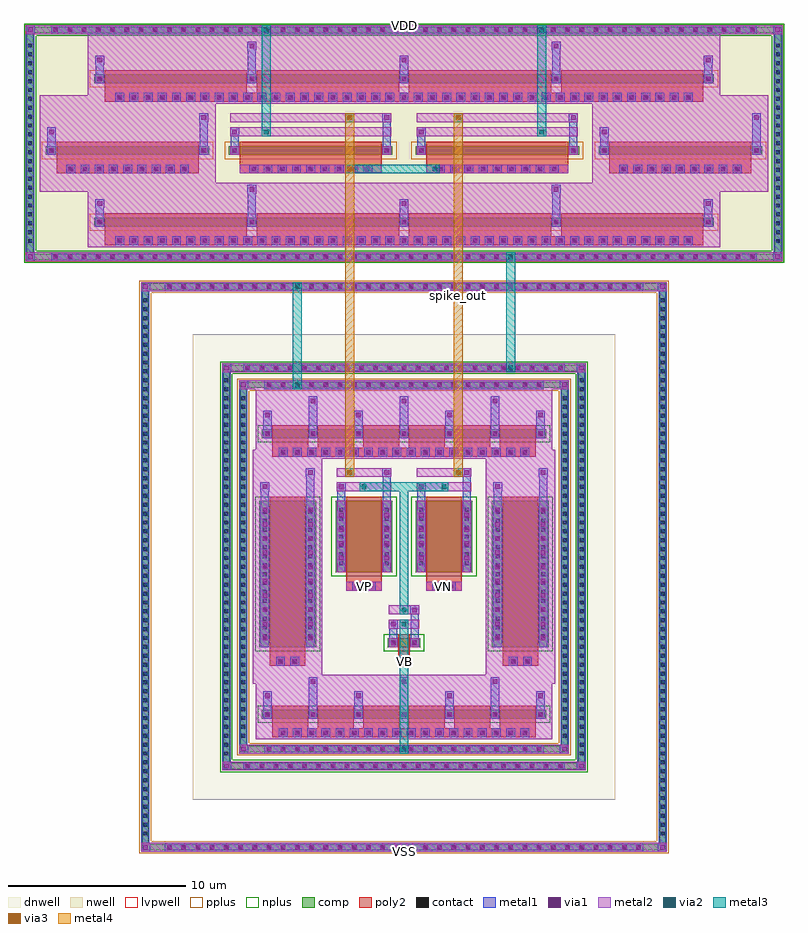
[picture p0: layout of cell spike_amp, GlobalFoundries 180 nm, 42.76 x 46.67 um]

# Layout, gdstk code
import gdstk
lib = gdstk.Library(unit=1e-6, precision=5e-09)
def R(c, l, rs):  # rectangles x0, y0, x1, y1
    for r in rs: c.add(gdstk.rectangle(r[:2], r[2:], *l))
def A(c, l, x, y, w, h, nx, ny, dx, dy):  # array of equal rectangles
    R(c, l, [(x+i*dx, y+j*dy, x+i*dx+w, y+j*dy+h) for i in range(nx) for j in range(ny)])
def P(c, l, *ps):  # polygons
    for p in ps: c.add(gdstk.Polygon(p, *l))
dnwell = (12, 0)
nwell = (21, 0)
comp = (22, 0)
poly2 = (30, 0)
pplus = (31, 0)
nplus = (32, 0)
contact = (33, 0)
metal1 = (34, 0)
via1 = (35, 0)
metal2 = (36, 0)
via2 = (38, 0)
via3 = (40, 0)
metal3 = (42, 0)
metal4 = (46, 0)
lvpwell = (204, 0)

spike_amp = lib.new_cell('spike_amp')
R(spike_amp, dnwell, [(-9.63,-15.205,14.13,10.975)])
R(spike_amp, nwell, [(-19.09,15.035,23.59,28.405), (-15.54,15.875,20.04,19.505), (-18.25,19.905,-8.35,23.535), (-7.95,19.905,1.95,23.535), (2.55,19.905,12.45,23.535), (12.85,19.905,22.75,23.535), (-15.54,23.935,20.04,27.565)])
A(spike_amp, comp, -11.13, -18.065, 0.36, 0.36, 34, 2, 0.8, 31.54)
A(spike_amp, comp, -12.49, -17.295, 0.36, 0.36, 1, 61, 0, 0.5)
A(spike_amp, comp, 16.63, -17.295, 0.36, 0.36, 1, 61, 0, 0.5)
A(spike_amp, comp, -6.73, -13.495, 0.36, 0.36, 23, 2, 0.8, 22.4)
A(spike_amp, comp, -7.92, -12.795, 0.36, 0.36, 1, 43, 0, 0.5)
A(spike_amp, comp, 12.06, -12.795, 0.36, 0.36, 1, 43, 0, 0.5)
A(spike_amp, comp, -5.53, -12.545, 0.36, 0.36, 20, 2, 0.8, 20.5)
A(spike_amp, comp, -6.97, -11.795, 0.36, 0.36, 1, 39, 0, 0.5)
A(spike_amp, comp, 11.11, -11.795, 0.36, 0.36, 1, 39, 0, 0.5)
A(spike_amp, comp, -17.53, 15.155, 0.36, 0.36, 50, 2, 0.8, 12.77)
A(spike_amp, comp, -18.97, 16.04, 0.36, 0.36, 1, 23, 0, 0.5)
A(spike_amp, comp, 23.11, 16.04, 0.36, 0.36, 1, 23, 0, 0.5)
R(spike_amp, comp, [(-11.13,-18.065,15.63,-17.705), (-12.49,-17.295,-12.13,13.065), (16.63,-17.295,16.99,13.065), (-6.73,-13.495,11.23,-13.135), (-7.92,-12.795,-7.56,8.565), (12.06,-12.795,12.42,8.565), (-5.53,-12.545,10.03,-12.185), (-6.97,-11.795,-6.61,7.565), (11.11,-11.795,11.47,7.565), (-5.75,-10.665,10.25,-10.165), (-5.9,-6.64,-2.7,1.6), (7.2,-6.64,10.4,1.6), (1.33,-6.635,3.17,-6.135), (-1.6,-2.405,1.6,1.595), (2.9,-2.405,6.1,1.595), (-5.75,5.125,10.25,5.625), (-5.53,7.955,10.03,8.315), (-6.73,8.905,11.23,9.265), (-11.13,13.475,15.63,13.835), (-17.53,15.155,22.03,15.515), (-18.97,16.04,-18.61,27.4), (23.11,16.04,23.47,27.4), (-15.19,17.035,19.69,17.535), (-17.9,21.065,-8.7,21.565), (-7.6,21.065,1.6,21.565), (2.9,21.065,12.1,21.565), (13.2,21.065,22.4,21.565), (-15.19,25.095,19.69,25.595), (-17.53,27.925,22.03,28.285)])
P(spike_amp, comp, [(23.47,28.285),(-18.97,28.285),(-18.97,15.515),(-18.61,15.515),(-18.61,27.925),(23.11,27.925),(23.11,15.515),(-18.61,15.515),(-18.97,15.515),(-18.97,15.155),(23.47,15.155)],
  [(11.47,8.315),(-6.97,8.315),(-6.97,-12.185),(-6.61,-12.185),(-6.61,7.955),(11.11,7.955),(11.11,-12.185),(-6.61,-12.185),(-6.97,-12.185),(-6.97,-12.545),(11.47,-12.545)],
  [(12.42,9.265),(-7.92,9.265),(-7.92,-13.135),(-7.56,-13.135),(-7.56,8.905),(12.06,8.905),(12.06,-13.135),(-7.56,-13.135),(-7.92,-13.135),(-7.92,-13.495),(12.42,-13.495)],
  [(16.99,13.835),(-12.49,13.835),(-12.49,-17.705),(-12.13,-17.705),(-12.13,13.475),(16.63,13.475),(16.63,-17.705),(-12.13,-17.705),(-12.49,-17.705),(-12.49,-18.065),(16.99,-18.065)])
A(spike_amp, poly2, -4.73, -11.635, 0.36, 0.36, 18, 2, 0.8, 15.79)
A(spike_amp, poly2, -5.15, -11.205, 2, 0.3, 6, 2, 2.56, 15.79)
A(spike_amp, poly2, -5.15, -10.905, 2, 0.98, 6, 2, 2.56, 15.79)
A(spike_amp, poly2, -13.93, 16.065, 0.36, 0.36, 41, 2, 0.8, 8.06)
A(spike_amp, poly2, -14.59, 16.495, 8, 0.3, 4, 2, 8.56, 8.06)
A(spike_amp, poly2, -14.59, 16.795, 8, 0.98, 4, 2, 8.56, 8.06)
A(spike_amp, poly2, -16.68, 20.095, 0.36, 0.36, 9, 1, 0.8, 0)
A(spike_amp, poly2, -6.38, 20.095, 0.36, 0.36, 9, 1, 0.8, 0)
A(spike_amp, poly2, 4.12, 20.095, 0.36, 0.36, 9, 1, 0.8, 0)
A(spike_amp, poly2, 14.42, 20.095, 0.36, 0.36, 9, 1, 0.8, 0)
R(spike_amp, poly2, [(-5.15,-11.705,9.65,-11.205), (-5.3,-7.68,-3.3,-7.18), (7.8,-7.68,9.8,-7.18), (1.93,-7.675,2.57,-7.175), (-4.88,-7.61,-4.52,-7.25), (-4.08,-7.61,-3.72,-7.25), (8.22,-7.61,8.58,-7.25), (9.02,-7.61,9.38,-7.25), (2.07,-7.605,2.43,-7.245), (-5.3,-7.18,-3.3,-6.88), (7.8,-7.18,9.8,-6.88), (1.93,-7.175,2.57,-6.875), (-5.3,-6.88,-3.3,1.84), (7.8,-6.88,9.8,1.84), (1.93,-6.875,2.57,-5.895), (-1,-3.445,1,-2.945), (3.5,-3.445,5.5,-2.945), (-0.58,-3.375,-0.22,-3.015), (0.22,-3.375,0.58,-3.015), (3.92,-3.375,4.28,-3.015), (4.72,-3.375,5.08,-3.015), (-1,-2.945,1,-2.645), (3.5,-2.945,5.5,-2.645), (-1,-2.645,1,1.835), (3.5,-2.645,5.5,1.835), (-5.15,4.085,9.65,4.585), (-14.59,15.995,19.09,16.495), (-17.3,20.025,-9.3,20.525), (-7,20.025,1,20.525), (3.5,20.025,11.5,20.525), (13.8,20.025,21.8,20.525), (-17.3,20.525,-9.3,20.825), (-7,20.525,1,20.825), (3.5,20.525,11.5,20.825), (13.8,20.525,21.8,20.825), (-17.3,20.825,-9.3,21.805), (-7,20.825,1,21.805), (3.5,20.825,11.5,21.805), (13.8,20.825,21.8,21.805), (-14.59,24.055,19.09,24.555)])
R(spike_amp, pplus, [(-15.42,16.805,19.92,17.765), (-18.13,20.835,-8.47,21.795), (-7.83,20.835,1.83,21.795), (2.67,20.835,12.33,21.795), (12.97,20.835,22.63,21.795), (-15.42,24.865,19.92,25.825)])
P(spike_amp, pplus, [(11.63,8.475),(-7.13,8.475),(-7.13,-12.025),(-6.45,-12.025),(-6.45,7.795),(10.95,7.795),(10.95,-12.025),(-6.45,-12.025),(-7.13,-12.025),(-7.13,-12.705),(11.63,-12.705)],
  [(17.15,13.995),(-12.65,13.995),(-12.65,-17.545),(-11.97,-17.545),(-11.97,13.315),(16.47,13.315),(16.47,-17.545),(-11.97,-17.545),(-12.65,-17.545),(-12.65,-18.225),(17.15,-18.225)])
R(spike_amp, nplus, [(-5.98,-10.895,10.48,-9.935), (-6.13,-6.87,-2.47,1.83), (6.97,-6.87,10.63,1.83), (1.1,-6.865,3.4,-5.905), (-1.83,-2.635,1.83,1.825), (2.67,-2.635,6.33,1.825), (-5.98,4.895,10.48,5.855)])
P(spike_amp, nplus, [(23.63,28.445),(-19.13,28.445),(-19.13,15.675),(-18.45,15.675),(-18.45,27.765),(22.95,27.765),(22.95,15.675),(-18.45,15.675),(-19.13,15.675),(-19.13,14.995),(23.63,14.995)],
  [(12.58,9.425),(-8.08,9.425),(-8.08,-12.975),(-7.4,-12.975),(-7.4,8.745),(11.9,8.745),(11.9,-12.975),(-7.4,-12.975),(-8.08,-12.975),(-8.08,-13.655),(12.58,-13.655)])
A(spike_amp, contact, -11.06, -17.995, 0.22, 0.22, 34, 2, 0.8, 31.54)
A(spike_amp, contact, -12.42, -17.225, 0.22, 0.22, 1, 61, 0, 0.5)
A(spike_amp, contact, 16.7, -17.225, 0.22, 0.22, 1, 61, 0, 0.5)
A(spike_amp, contact, -6.66, -13.425, 0.22, 0.22, 23, 2, 0.8, 22.4)
A(spike_amp, contact, -7.85, -12.725, 0.22, 0.22, 1, 43, 0, 0.5)
A(spike_amp, contact, 12.13, -12.725, 0.22, 0.22, 1, 43, 0, 0.5)
A(spike_amp, contact, -5.46, -12.475, 0.22, 0.22, 20, 2, 0.8, 20.5)
A(spike_amp, contact, -6.9, -11.725, 0.22, 0.22, 1, 39, 0, 0.5)
A(spike_amp, contact, 11.18, -11.725, 0.22, 0.22, 1, 39, 0, 0.5)
A(spike_amp, contact, -4.66, -11.565, 0.22, 0.22, 18, 2, 0.8, 15.79)
A(spike_amp, contact, -5.54, -10.525, 0.22, 0.22, 7, 2, 2.56, 15.79)
A(spike_amp, contact, -5.69, -6.13, 0.22, 0.22, 1, 15, 0, 0.5)
A(spike_amp, contact, -3.13, -6.13, 0.22, 0.22, 1, 15, 0, 0.5)
A(spike_amp, contact, 7.41, -6.13, 0.22, 0.22, 1, 15, 0, 0.5)
A(spike_amp, contact, 9.97, -6.13, 0.22, 0.22, 1, 15, 0, 0.5)
A(spike_amp, contact, -1.39, -2.015, 0.22, 0.22, 1, 7, 0, 0.5)
A(spike_amp, contact, 1.17, -2.015, 0.22, 0.22, 1, 7, 0, 0.5)
A(spike_amp, contact, 3.11, -2.015, 0.22, 0.22, 1, 7, 0, 0.5)
A(spike_amp, contact, 5.67, -2.015, 0.22, 0.22, 1, 7, 0, 0.5)
A(spike_amp, contact, -17.46, 15.225, 0.22, 0.22, 50, 2, 0.8, 12.77)
A(spike_amp, contact, -18.9, 16.11, 0.22, 0.22, 1, 23, 0, 0.5)
A(spike_amp, contact, 23.18, 16.11, 0.22, 0.22, 1, 23, 0, 0.5)
A(spike_amp, contact, -13.86, 16.135, 0.22, 0.22, 41, 2, 0.8, 8.06)
A(spike_amp, contact, -14.98, 17.175, 0.22, 0.22, 5, 2, 8.56, 8.06)
A(spike_amp, contact, -16.61, 20.165, 0.22, 0.22, 9, 1, 0.8, 0)
A(spike_amp, contact, -6.31, 20.165, 0.22, 0.22, 9, 1, 0.8, 0)
A(spike_amp, contact, 4.19, 20.165, 0.22, 0.22, 9, 1, 0.8, 0)
A(spike_amp, contact, 14.49, 20.165, 0.22, 0.22, 9, 1, 0.8, 0)
R(spike_amp, contact, [(-4.81,-7.54,-4.59,-7.32), (-4.01,-7.54,-3.79,-7.32), (8.29,-7.54,8.51,-7.32), (9.09,-7.54,9.31,-7.32), (2.14,-7.535,2.36,-7.315), (1.54,-6.495,1.76,-6.275), (2.74,-6.495,2.96,-6.275), (-0.51,-3.305,-0.29,-3.085), (0.29,-3.305,0.51,-3.085), (3.99,-3.305,4.21,-3.085), (4.79,-3.305,5.01,-3.085), (-17.69,21.205,-17.47,21.425), (-9.13,21.205,-8.91,21.425), (-7.39,21.205,-7.17,21.425), (1.17,21.205,1.39,21.425), (3.11,21.205,3.33,21.425), (11.67,21.205,11.89,21.425), (13.41,21.205,13.63,21.425), (21.97,21.205,22.19,21.425)])
A(spike_amp, metal1, -11.2, -18.135, 0.5, 0.5, 34, 2, 0.8, 31.54)
A(spike_amp, metal1, -12.54, -17.345, 0.46, 0.46, 1, 61, 0, 0.5)
A(spike_amp, metal1, 16.58, -17.345, 0.46, 0.46, 1, 61, 0, 0.5)
A(spike_amp, metal1, -6.8, -13.565, 0.5, 0.5, 23, 2, 0.8, 22.4)
A(spike_amp, metal1, -7.97, -12.845, 0.46, 0.46, 1, 43, 0, 0.5)
A(spike_amp, metal1, 12.01, -12.845, 0.46, 0.46, 1, 43, 0, 0.5)
A(spike_amp, metal1, -5.6, -12.615, 0.5, 0.5, 20, 2, 0.8, 20.5)
A(spike_amp, metal1, -7.02, -11.845, 0.46, 0.46, 1, 39, 0, 0.5)
A(spike_amp, metal1, 11.06, -11.845, 0.46, 0.46, 1, 39, 0, 0.5)
A(spike_amp, metal1, -4.8, -11.705, 0.5, 0.5, 18, 2, 0.8, 15.79)
A(spike_amp, metal1, -5.66, -10.665, 0.46, 0.5, 7, 2, 2.56, 15.79)
A(spike_amp, metal1, -5.66, -10.645, 0.46, 0.46, 7, 2, 2.56, 15.79)
A(spike_amp, metal1, -5.66, -10.165, 0.46, 1.05, 4, 2, 5.12, 15.79)
A(spike_amp, metal1, -3.1, -10.165, 0.46, 1.85, 3, 2, 5.12, 15.79)
A(spike_amp, metal1, -5.68, -9.615, 0.5, 0.5, 4, 2, 5.12, 15.79)
A(spike_amp, metal1, -3.12, -8.815, 0.5, 0.5, 3, 2, 5.12, 15.79)
A(spike_amp, metal1, -5.83, -6.37, 0.5, 0.5, 1, 10, 0, 0.8)
A(spike_amp, metal1, -3.27, -6.37, 0.5, 0.5, 1, 10, 0, 0.8)
A(spike_amp, metal1, 7.27, -6.37, 0.5, 0.5, 1, 10, 0, 0.8)
A(spike_amp, metal1, 9.83, -6.37, 0.5, 0.5, 1, 10, 0, 0.8)
A(spike_amp, metal1, -5.81, -6.25, 0.46, 0.46, 1, 15, 0, 0.5)
A(spike_amp, metal1, -3.25, -6.25, 0.46, 0.46, 1, 15, 0, 0.5)
A(spike_amp, metal1, 7.29, -6.25, 0.46, 0.46, 1, 15, 0, 0.5)
A(spike_amp, metal1, 9.85, -6.25, 0.46, 0.46, 1, 15, 0, 0.5)
A(spike_amp, metal1, -1.51, -2.135, 0.46, 0.46, 1, 7, 0, 0.5)
A(spike_amp, metal1, 1.05, -2.135, 0.46, 0.46, 1, 7, 0, 0.5)
A(spike_amp, metal1, 2.99, -2.135, 0.46, 0.46, 1, 7, 0, 0.5)
A(spike_amp, metal1, 5.55, -2.135, 0.46, 0.46, 1, 7, 0, 0.5)
A(spike_amp, metal1, -1.53, -1.855, 0.5, 0.5, 1, 4, 0, 0.8)
A(spike_amp, metal1, 1.03, -1.855, 0.5, 0.5, 1, 4, 0, 0.8)
A(spike_amp, metal1, 2.97, -1.855, 0.5, 0.5, 1, 4, 0, 0.8)
A(spike_amp, metal1, 5.53, -1.855, 0.5, 0.5, 1, 4, 0, 0.8)
A(spike_amp, metal1, -17.6, 15.085, 0.5, 0.5, 50, 2, 0.8, 12.77)
A(spike_amp, metal1, -19.02, 15.99, 0.46, 0.46, 1, 23, 0, 0.5)
A(spike_amp, metal1, 23.06, 15.99, 0.46, 0.46, 1, 23, 0, 0.5)
A(spike_amp, metal1, -14, 15.995, 0.5, 0.5, 41, 2, 0.8, 8.06)
A(spike_amp, metal1, -15.1, 17.035, 0.46, 0.5, 5, 2, 8.56, 8.06)
A(spike_amp, metal1, -15.1, 17.055, 0.46, 0.46, 5, 2, 8.56, 8.06)
A(spike_amp, metal1, -15.1, 17.535, 0.46, 1.05, 3, 2, 17.12, 8.06)
A(spike_amp, metal1, -15.12, 18.085, 0.5, 0.5, 3, 2, 17.12, 8.06)
A(spike_amp, metal1, -16.75, 20.025, 0.5, 0.5, 9, 1, 0.8, 0)
A(spike_amp, metal1, -6.45, 20.025, 0.5, 0.5, 9, 1, 0.8, 0)
A(spike_amp, metal1, 4.05, 20.025, 0.5, 0.5, 9, 1, 0.8, 0)
A(spike_amp, metal1, 14.35, 20.025, 0.5, 0.5, 9, 1, 0.8, 0)
R(spike_amp, metal1, [(-12.54,-18.135,-12.04,-17.635), (-12.54,-18.135,-12.04,-17.635), (-12.54,-18.135,-12.08,-17.705), (-11.2,-18.135,15.7,-17.635), (16.54,-18.135,17.04,-17.635), (16.54,-18.135,17.04,-17.635), (16.58,-18.135,17.04,-17.705), (-12.54,-17.705,-12.08,13.475), (16.58,-17.705,17.04,13.475), (-7.97,-13.565,-7.47,-13.065), (-7.97,-13.565,-7.47,-13.065), (-7.97,-13.565,-7.51,-13.135), (-6.8,-13.565,11.3,-13.065), (11.97,-13.565,12.47,-13.065), (11.97,-13.565,12.47,-13.065), (12.01,-13.565,12.47,-13.135), (-7.97,-13.135,-7.51,8.905), (12.01,-13.135,12.47,8.905), (-7.02,-12.615,-6.52,-12.115), (-7.02,-12.615,-6.52,-12.115), (-7.02,-12.615,-6.56,-12.185), (-5.6,-12.615,10.1,-12.115), (11.02,-12.615,11.52,-12.115), (11.02,-12.615,11.52,-12.115), (11.06,-12.615,11.52,-12.185), (-7.02,-12.185,-6.56,7.955), (11.06,-12.185,11.52,7.955), (-5.68,-10.665,-5.18,-10.165), (-5.68,-10.665,-5.18,-10.165), (-3.12,-10.665,-2.62,-10.165), (-3.12,-10.665,-2.62,-10.165), (-0.56,-10.665,-0.06,-10.165), (-0.56,-10.665,-0.06,-10.165), (2,-10.665,2.5,-10.165), (2,-10.665,2.5,-10.165), (4.56,-10.665,5.06,-10.165), (4.56,-10.665,5.06,-10.165), (7.12,-10.665,7.62,-10.165), (7.12,-10.665,7.62,-10.165), (9.68,-10.665,10.18,-10.165), (9.68,-10.665,10.18,-10.165), (-4.95,-7.68,-4.45,-7.18), (-4.15,-7.68,-3.65,-7.18), (8.15,-7.68,8.65,-7.18), (8.95,-7.68,9.45,-7.18), (2,-7.675,2.5,-7.175), (-5.81,-6.64,-5.35,1.6), (-3.25,-6.64,-2.79,1.6), (7.29,-6.64,7.75,1.6), (9.85,-6.64,10.31,1.6), (1.4,-6.635,1.9,-6.135), (1.4,-6.635,1.9,-6.135), (1.42,-6.635,1.88,-6.135), (2.6,-6.635,3.1,-6.135), (2.6,-6.635,3.1,-6.135), (2.62,-6.635,3.08,-6.135), (1.42,-6.615,1.88,-6.155), (2.62,-6.615,3.08,-6.155), (-5.83,-6.37,-5.33,1.33), (-3.27,-6.37,-2.77,1.33), (7.27,-6.37,7.77,1.33), (9.83,-6.37,10.33,1.33), (1.42,-6.135,1.88,-5.085), (2.62,-6.135,3.08,-4.285), (1.4,-5.585,1.9,-5.085), (2.6,-4.785,3.1,-4.285), (-0.65,-3.445,-0.15,-2.945), (0.15,-3.445,0.65,-2.945), (3.85,-3.445,4.35,-2.945), (4.65,-3.445,5.15,-2.945), (-1.51,-2.405,-1.05,1.595), (1.05,-2.405,1.51,1.595), (2.99,-2.405,3.45,1.595), (5.55,-2.405,6.01,1.595), (-1.53,-1.855,-1.03,1.045), (1.03,-1.855,1.53,1.045), (2.97,-1.855,3.47,1.045), (5.53,-1.855,6.03,1.045), (-1.51,1.595,-1.05,2.645), (1.05,1.595,1.51,3.445), (2.99,1.595,3.45,2.645), (5.55,1.595,6.01,3.445), (-5.81,1.6,-5.35,2.65), (-3.25,1.6,-2.79,3.45), (7.29,1.6,7.75,2.65), (9.85,1.6,10.31,3.45), (-1.53,2.145,-1.03,2.645), (2.97,2.145,3.47,2.645), (-5.83,2.15,-5.33,2.65), (7.27,2.15,7.77,2.65), (1.03,2.945,1.53,3.445), (5.53,2.945,6.03,3.445), (-3.27,2.95,-2.77,3.45), (9.83,2.95,10.33,3.45), (-5.68,5.125,-5.18,5.625), (-5.68,5.125,-5.18,5.625), (-3.12,5.125,-2.62,5.625), (-3.12,5.125,-2.62,5.625), (-0.56,5.125,-0.06,5.625), (-0.56,5.125,-0.06,5.625), (2,5.125,2.5,5.625), (2,5.125,2.5,5.625), (4.56,5.125,5.06,5.625), (4.56,5.125,5.06,5.625), (7.12,5.125,7.62,5.625), (7.12,5.125,7.62,5.625), (9.68,5.125,10.18,5.625), (9.68,5.125,10.18,5.625), (-7.02,7.885,-6.52,8.385), (-7.02,7.885,-6.52,8.385), (-5.6,7.885,10.1,8.385), (11.02,7.885,11.52,8.385), (11.02,7.885,11.52,8.385), (-7.02,7.955,-6.56,8.385), (11.06,7.955,11.52,8.385), (-7.97,8.835,-7.47,9.335), (-7.97,8.835,-7.47,9.335), (-6.8,8.835,11.3,9.335), (11.97,8.835,12.47,9.335), (11.97,8.835,12.47,9.335), (-7.97,8.905,-7.51,9.335), (12.01,8.905,12.47,9.335), (-12.54,13.405,-12.04,13.905), (-12.54,13.405,-12.04,13.905), (-11.2,13.405,15.7,13.905), (16.54,13.405,17.04,13.905), (16.54,13.405,17.04,13.905), (-12.54,13.475,-12.08,13.905), (16.58,13.475,17.04,13.905), (-19.02,15.085,-18.52,15.585), (-19.02,15.085,-18.52,15.585), (-19.02,15.085,-18.56,15.515), (-17.6,15.085,22.1,15.585), (23.02,15.085,23.52,15.585), (23.02,15.085,23.52,15.585), (23.06,15.085,23.52,15.515), (-19.02,15.515,-18.56,27.925), (23.06,15.515,23.52,27.925), (-15.12,17.035,-14.62,17.535), (-15.12,17.035,-14.62,17.535), (-6.56,17.035,-6.06,17.535), (-6.56,17.035,-6.06,17.535), (2,17.035,2.5,17.535), (2,17.035,2.5,17.535), (10.56,17.035,11.06,17.535), (10.56,17.035,11.06,17.535), (19.12,17.035,19.62,17.535), (19.12,17.035,19.62,17.535), (-6.54,17.535,-6.08,19.385), (10.58,17.535,11.04,19.385), (-6.56,18.885,-6.06,19.385), (10.56,18.885,11.06,19.385), (-17.83,21.065,-17.33,21.565), (-17.83,21.065,-17.33,21.565), (-17.81,21.065,-17.35,21.565), (-9.27,21.065,-8.77,21.565), (-9.27,21.065,-8.77,21.565), (-9.25,21.065,-8.79,21.565), (-7.53,21.065,-7.03,21.565), (-7.53,21.065,-7.03,21.565), (-7.51,21.065,-7.05,21.565), (1.03,21.065,1.53,21.565), (1.03,21.065,1.53,21.565), (1.05,21.065,1.51,21.565), (2.97,21.065,3.47,21.565), (2.97,21.065,3.47,21.565), (2.99,21.065,3.45,21.565), (11.53,21.065,12.03,21.565), (11.53,21.065,12.03,21.565), (11.55,21.065,12.01,21.565), (13.27,21.065,13.77,21.565), (13.27,21.065,13.77,21.565), (13.29,21.065,13.75,21.565), (21.83,21.065,22.33,21.565), (21.83,21.065,22.33,21.565), (21.85,21.065,22.31,21.565), (-17.81,21.085,-17.35,21.545), (-9.25,21.085,-8.79,21.545), (-7.51,21.085,-7.05,21.545), (1.05,21.085,1.51,21.545), (2.99,21.085,3.45,21.545), (11.55,21.085,12.01,21.545), (13.29,21.085,13.75,21.545), (21.85,21.085,22.31,21.545), (-17.81,21.565,-17.35,22.615), (-9.25,21.565,-8.79,23.415), (-7.51,21.565,-7.05,22.615), (1.05,21.565,1.51,23.415), (2.99,21.565,3.45,22.615), (11.55,21.565,12.01,23.415), (13.29,21.565,13.75,22.615), (21.85,21.565,22.31,23.415), (-17.83,22.115,-17.33,22.615), (-7.53,22.115,-7.03,22.615), (2.97,22.115,3.47,22.615), (13.27,22.115,13.77,22.615), (-9.27,22.915,-8.77,23.415), (1.03,22.915,1.53,23.415), (11.53,22.915,12.03,23.415), (21.83,22.915,22.33,23.415), (-15.12,25.095,-14.62,25.595), (-15.12,25.095,-14.62,25.595), (-6.56,25.095,-6.06,25.595), (-6.56,25.095,-6.06,25.595), (2,25.095,2.5,25.595), (2,25.095,2.5,25.595), (10.56,25.095,11.06,25.595), (10.56,25.095,11.06,25.595), (19.12,25.095,19.62,25.595), (19.12,25.095,19.62,25.595), (-6.54,25.595,-6.08,27.445), (10.58,25.595,11.04,27.445), (-6.56,26.945,-6.06,27.445), (10.56,26.945,11.06,27.445), (-19.02,27.855,-18.52,28.355), (-19.02,27.855,-18.52,28.355), (-17.6,27.855,22.1,28.355), (23.02,27.855,23.52,28.355), (23.02,27.855,23.52,28.355), (-19.02,27.925,-18.56,28.355), (23.06,27.925,23.52,28.355)])
A(spike_amp, via1, -11.08, -18.015, 0.26, 0.26, 34, 2, 0.8, 31.54)
A(spike_amp, via1, -6.68, -13.445, 0.26, 0.26, 23, 2, 0.8, 22.4)
A(spike_amp, via1, -5.48, -12.495, 0.26, 0.26, 20, 2, 0.8, 20.5)
A(spike_amp, via1, -4.68, -11.585, 0.26, 0.26, 18, 2, 0.8, 15.79)
A(spike_amp, via1, -5.56, -10.545, 0.26, 0.26, 7, 2, 2.56, 15.79)
A(spike_amp, via1, -5.56, -9.495, 0.26, 0.26, 4, 2, 5.12, 15.79)
A(spike_amp, via1, -3, -8.695, 0.26, 0.26, 3, 2, 5.12, 15.79)
A(spike_amp, via1, -5.71, -6.25, 0.26, 0.26, 1, 10, 0, 0.8)
A(spike_amp, via1, -3.15, -6.25, 0.26, 0.26, 1, 10, 0, 0.8)
A(spike_amp, via1, 7.39, -6.25, 0.26, 0.26, 1, 10, 0, 0.8)
A(spike_amp, via1, 9.95, -6.25, 0.26, 0.26, 1, 10, 0, 0.8)
A(spike_amp, via1, -1.41, -1.735, 0.26, 0.26, 1, 4, 0, 0.8)
A(spike_amp, via1, 1.15, -1.735, 0.26, 0.26, 1, 4, 0, 0.8)
A(spike_amp, via1, 3.09, -1.735, 0.26, 0.26, 1, 4, 0, 0.8)
A(spike_amp, via1, 5.65, -1.735, 0.26, 0.26, 1, 4, 0, 0.8)
A(spike_amp, via1, -17.48, 15.205, 0.26, 0.26, 50, 2, 0.8, 12.77)
A(spike_amp, via1, -13.88, 16.115, 0.26, 0.26, 41, 2, 0.8, 8.06)
A(spike_amp, via1, -15, 17.155, 0.26, 0.26, 5, 2, 8.56, 8.06)
A(spike_amp, via1, -15, 18.205, 0.26, 0.26, 3, 2, 17.12, 8.06)
A(spike_amp, via1, -16.63, 20.145, 0.26, 0.26, 9, 1, 0.8, 0)
A(spike_amp, via1, -6.33, 20.145, 0.26, 0.26, 9, 1, 0.8, 0)
A(spike_amp, via1, 4.17, 20.145, 0.26, 0.26, 9, 1, 0.8, 0)
A(spike_amp, via1, 14.47, 20.145, 0.26, 0.26, 9, 1, 0.8, 0)
R(spike_amp, via1, [(-12.42,-18.015,-12.16,-17.755), (16.66,-18.015,16.92,-17.755), (-7.85,-13.445,-7.59,-13.185), (12.09,-13.445,12.35,-13.185), (-6.9,-12.495,-6.64,-12.235), (11.14,-12.495,11.4,-12.235), (-4.83,-7.56,-4.57,-7.3), (-4.03,-7.56,-3.77,-7.3), (8.27,-7.56,8.53,-7.3), (9.07,-7.56,9.33,-7.3), (2.12,-7.555,2.38,-7.295), (1.52,-6.515,1.78,-6.255), (2.72,-6.515,2.98,-6.255), (1.52,-5.465,1.78,-5.205), (2.72,-4.665,2.98,-4.405), (-0.53,-3.325,-0.27,-3.065), (0.27,-3.325,0.53,-3.065), (3.97,-3.325,4.23,-3.065), (4.77,-3.325,5.03,-3.065), (-1.41,2.265,-1.15,2.525), (3.09,2.265,3.35,2.525), (-5.71,2.27,-5.45,2.53), (7.39,2.27,7.65,2.53), (1.15,3.065,1.41,3.325), (5.65,3.065,5.91,3.325), (-3.15,3.07,-2.89,3.33), (9.95,3.07,10.21,3.33), (-6.9,8.005,-6.64,8.265), (11.14,8.005,11.4,8.265), (-7.85,8.955,-7.59,9.215), (12.09,8.955,12.35,9.215), (-12.42,13.525,-12.16,13.785), (16.66,13.525,16.92,13.785), (-18.9,15.205,-18.64,15.465), (23.14,15.205,23.4,15.465), (-6.44,19.005,-6.18,19.265), (10.68,19.005,10.94,19.265), (-17.71,21.185,-17.45,21.445), (-9.15,21.185,-8.89,21.445), (-7.41,21.185,-7.15,21.445), (1.15,21.185,1.41,21.445), (3.09,21.185,3.35,21.445), (11.65,21.185,11.91,21.445), (13.39,21.185,13.65,21.445), (21.95,21.185,22.21,21.445), (-17.71,22.235,-17.45,22.495), (-7.41,22.235,-7.15,22.495), (3.09,22.235,3.35,22.495), (13.39,22.235,13.65,22.495), (-9.15,23.035,-8.89,23.295), (1.15,23.035,1.41,23.295), (11.65,23.035,11.91,23.295), (21.95,23.035,22.21,23.295), (-6.44,27.065,-6.18,27.325), (10.68,27.065,10.94,27.325), (-18.9,27.975,-18.64,28.235), (23.14,27.975,23.4,28.235)])
A(spike_amp, metal2, -11.2, -18.135, 0.5, 0.5, 34, 1, 0.8, 0)
A(spike_amp, metal2, -6.8, -13.565, 0.5, 0.5, 23, 1, 0.8, 0)
A(spike_amp, metal2, -5.6, -12.615, 0.5, 0.5, 10, 1, 0.8, 0)
A(spike_amp, metal2, 2.4, -12.615, 0.5, 0.5, 10, 1, 0.8, 0)
A(spike_amp, metal2, -4.8, -11.705, 0.5, 0.5, 18, 2, 0.8, 15.79)
A(spike_amp, metal2, -5.68, -9.615, 0.5, 0.5, 4, 2, 5.12, 15.79)
A(spike_amp, metal2, -3.12, -8.815, 0.5, 0.5, 3, 2, 5.12, 15.79)
A(spike_amp, metal2, -5.83, -6.37, 0.5, 0.5, 1, 10, 0, 0.8)
A(spike_amp, metal2, -3.27, -6.37, 0.5, 0.5, 1, 10, 0, 0.8)
A(spike_amp, metal2, 7.27, -6.37, 0.5, 0.5, 1, 10, 0, 0.8)
A(spike_amp, metal2, 9.83, -6.37, 0.5, 0.5, 1, 10, 0, 0.8)
A(spike_amp, metal2, -1.53, -1.855, 0.5, 0.5, 1, 4, 0, 0.8)
A(spike_amp, metal2, 1.03, -1.855, 0.5, 0.5, 1, 4, 0, 0.8)
A(spike_amp, metal2, 2.97, -1.855, 0.5, 0.5, 1, 4, 0, 0.8)
A(spike_amp, metal2, 5.53, -1.855, 0.5, 0.5, 1, 4, 0, 0.8)
A(spike_amp, metal2, -5.6, 7.885, 0.5, 0.5, 3, 1, 0.8, 0)
A(spike_amp, metal2, -4, 7.885, 0.5, 0.5, 18, 1, 0.8, 0)
A(spike_amp, metal2, -6.8, 8.835, 0.5, 0.5, 19, 1, 0.8, 0)
A(spike_amp, metal2, 8.4, 8.835, 0.5, 0.5, 4, 1, 0.8, 0)
A(spike_amp, metal2, -11.2, 13.405, 0.5, 0.5, 10, 1, 0.8, 0)
A(spike_amp, metal2, -4, 13.405, 0.5, 0.5, 25, 1, 0.8, 0)
A(spike_amp, metal2, -17.6, 15.085, 0.5, 0.5, 33, 1, 0.8, 0)
A(spike_amp, metal2, 8, 15.085, 0.5, 0.5, 18, 1, 0.8, 0)
A(spike_amp, metal2, -14, 15.995, 0.5, 0.5, 41, 2, 0.8, 8.06)
A(spike_amp, metal2, -15.12, 18.085, 0.5, 0.5, 3, 2, 17.12, 8.06)
A(spike_amp, metal2, -16.75, 20.025, 0.5, 0.5, 9, 1, 0.8, 0)
A(spike_amp, metal2, -6.45, 20.025, 0.5, 0.5, 7, 1, 0.8, 0)
A(spike_amp, metal2, 4.05, 20.025, 0.5, 0.5, 9, 1, 0.8, 0)
A(spike_amp, metal2, 14.35, 20.025, 0.5, 0.5, 9, 1, 0.8, 0)
A(spike_amp, metal2, -17.6, 27.855, 0.5, 0.5, 15, 1, 0.8, 0)
A(spike_amp, metal2, -5.6, 27.855, 0.5, 0.5, 20, 1, 0.8, 0)
A(spike_amp, metal2, 10.4, 27.855, 0.5, 0.5, 15, 1, 0.8, 0)
R(spike_amp, metal2, [(-12.54,-18.135,-12.04,-17.635), (-12.54,-18.135,-12.04,-17.635), (-12.54,-18.135,-12.13,-17.635), (-12.13,-18.135,16.63,-17.635), (16.54,-18.135,17.04,-17.635), (16.54,-18.135,17.04,-17.635), (16.63,-18.135,17.04,-17.635), (-7.97,-13.565,-7.47,-13.065), (-7.97,-13.565,-7.47,-13.065), (-7.97,-13.565,-7.56,-13.065), (-7.56,-13.565,12.06,-13.065), (11.97,-13.565,12.47,-13.065), (11.97,-13.565,12.47,-13.065), (12.06,-13.565,12.47,-13.065), (-7.02,-12.615,-6.52,-12.115), (-7.02,-12.615,-6.52,-12.115), (-7.02,-12.615,-6.61,-12.115), (-6.61,-12.615,11.11,-12.115), (2,-12.615,2.5,-12.115), (11.02,-12.615,11.52,-12.115), (11.02,-12.615,11.52,-12.115), (11.11,-12.615,11.52,-12.115), (-6.1,-11.825,10.6,-8.195), (-5.15,-11.705,9.65,-11.205), (-5.68,-10.665,-5.18,-10.165), (-5.68,-10.665,-5.18,-10.165), (-3.12,-10.665,-2.62,-10.165), (-3.12,-10.665,-2.62,-10.165), (-0.56,-10.665,-0.06,-10.165), (-0.56,-10.665,-0.06,-10.165), (2,-10.665,2.5,-10.165), (2,-10.665,2.5,-10.165), (4.56,-10.665,5.06,-10.165), (4.56,-10.665,5.06,-10.165), (7.12,-10.665,7.62,-10.165), (7.12,-10.665,7.62,-10.165), (9.68,-10.665,10.18,-10.165), (9.68,-10.665,10.18,-10.165), (-5.68,-9.615,10.18,-9.115), (-5.68,-8.815,10.18,-8.315), (-6.25,-8.695,-2.35,4.465), (6.85,-8.695,10.75,4.465), (-5.3,-7.68,-3.3,-7.18), (-4.95,-7.68,-4.45,-7.18), (-4.15,-7.68,-3.65,-7.18), (7.8,-7.68,9.8,-7.18), (8.15,-7.68,8.65,-7.18), (8.95,-7.68,9.45,-7.18), (1.93,-7.675,2.57,-7.175), (2,-7.675,2.5,-7.175), (-5.83,-6.64,-5.33,1.6), (-3.27,-6.64,-2.77,1.6), (7.27,-6.64,7.77,1.6), (9.83,-6.64,10.33,1.6), (1.4,-6.635,1.9,-6.135), (1.4,-6.635,1.9,-6.135), (2.6,-6.635,3.1,-6.135), (2.6,-6.635,3.1,-6.135), (1.4,-5.585,1.9,-5.085), (1.4,-5.585,3.1,-5.085), (2,-5.585,2.5,-5.085), (1.4,-4.785,3.1,-4.285), (2,-4.785,2.5,-4.285), (2.6,-4.785,3.1,-4.285), (-1,-3.445,1,-2.945), (-0.65,-3.445,-0.15,-2.945), (0.15,-3.445,0.65,-2.945), (3.5,-3.445,5.5,-2.945), (3.85,-3.445,4.35,-2.945), (4.65,-3.445,5.15,-2.945), (-1.53,-2.405,-1.03,1.595), (1.03,-2.405,1.53,1.595), (2.97,-2.405,3.47,1.595), (5.53,-2.405,6.03,1.595), (-1.53,2.145,-1.03,2.645), (-1.53,2.145,1.53,2.645), (-0.25,2.145,0.25,2.645), (2.97,2.145,3.47,2.645), (2.97,2.145,6.03,2.645), (4.25,2.145,4.75,2.645), (-5.83,2.15,-5.33,2.65), (-5.83,2.15,-2.77,2.65), (7.27,2.15,7.77,2.65), (7.27,2.15,10.33,2.65), (-1.53,2.945,1.53,3.445), (-1.05,2.945,-0.55,3.445), (1.03,2.945,1.53,3.445), (2.97,2.945,6.03,3.445), (5.05,2.945,5.55,3.445), (5.53,2.945,6.03,3.445), (-5.83,2.95,-2.77,3.45), (-3.27,2.95,-2.77,3.45), (7.27,2.95,10.33,3.45), (9.83,2.95,10.33,3.45), (-6.1,3.965,10.6,7.595), (-5.15,4.085,9.65,4.585), (-5.68,5.125,-5.18,5.625), (-5.68,5.125,-5.18,5.625), (-3.12,5.125,-2.62,5.625), (-3.12,5.125,-2.62,5.625), (-0.56,5.125,-0.06,5.625), (-0.56,5.125,-0.06,5.625), (2,5.125,2.5,5.625), (2,5.125,2.5,5.625), (4.56,5.125,5.06,5.625), (4.56,5.125,5.06,5.625), (7.12,5.125,7.62,5.625), (7.12,5.125,7.62,5.625), (9.68,5.125,10.18,5.625), (9.68,5.125,10.18,5.625), (-5.68,6.175,10.18,6.675), (-5.68,6.975,10.18,7.475), (-6.1,7.595,10.6,7.885), (-7.02,7.885,-6.52,8.385), (-7.02,7.885,-6.52,8.385), (-7.02,7.885,-6.61,8.385), (-6.61,7.885,11.11,8.385), (11.02,7.885,11.52,8.385), (11.02,7.885,11.52,8.385), (11.11,7.885,11.52,8.385), (-7.97,8.835,-7.47,9.335), (-7.97,8.835,-7.47,9.335), (-7.97,8.835,-7.56,9.335), (-7.56,8.835,12.06,9.335), (8,8.835,8.5,9.335), (11.97,8.835,12.47,9.335), (11.97,8.835,12.47,9.335), (12.06,8.835,12.47,9.335), (-12.54,13.405,-12.04,13.905), (-12.54,13.405,-12.04,13.905), (-12.54,13.405,-12.13,13.905), (-12.13,13.405,16.63,13.905), (16.54,13.405,17.04,13.905), (16.54,13.405,17.04,13.905), (16.63,13.405,17.04,13.905), (-19.02,15.085,-18.52,15.585), (-19.02,15.085,-18.52,15.585), (-19.02,15.085,-18.61,15.585), (-18.61,15.085,23.11,15.585), (23.02,15.085,23.52,15.585), (23.02,15.085,23.52,15.585), (23.11,15.085,23.52,15.585), (-15.54,15.875,20.04,19.505), (-14.59,15.995,19.09,16.495), (-15.12,17.035,-14.62,17.535), (-15.12,17.035,-14.62,17.535), (-6.56,17.035,-6.06,17.535), (-6.56,17.035,-6.06,17.535), (2,17.035,2.5,17.535), (2,17.035,2.5,17.535), (10.56,17.035,11.06,17.535), (10.56,17.035,11.06,17.535), (19.12,17.035,19.62,17.535), (19.12,17.035,19.62,17.535), (-15.12,18.085,19.62,18.585), (-15.12,18.885,19.62,19.385), (-6.56,18.885,-6.06,19.385), (10.56,18.885,11.06,19.385), (-18.25,19.005,-8.35,24.435), (12.85,19.005,22.75,24.435), (-17.3,20.025,-9.3,20.525), (-7,20.025,1,20.525), (-1.05,20.025,-0.55,20.525), (-0.85,20.025,-0.35,20.525), (-0.05,20.025,0.45,20.525), (3.5,20.025,11.5,20.525), (3.75,20.025,4.25,20.525), (13.8,20.025,21.8,20.525), (-17.83,21.065,-17.33,21.565), (-17.83,21.065,-17.33,21.565), (-9.27,21.065,-8.77,21.565), (-9.27,21.065,-8.77,21.565), (-7.53,21.065,-7.03,21.565), (-7.53,21.065,-7.03,21.565), (1.03,21.065,1.53,21.565), (1.03,21.065,1.53,21.565), (2.97,21.065,3.47,21.565), (2.97,21.065,3.47,21.565), (11.53,21.065,12.03,21.565), (11.53,21.065,12.03,21.565), (13.27,21.065,13.77,21.565), (13.27,21.065,13.77,21.565), (21.83,21.065,22.33,21.565), (21.83,21.065,22.33,21.565), (-17.83,22.115,-17.33,22.615), (-17.83,22.115,-8.77,22.615), (-7.53,22.115,-7.03,22.615), (-7.53,22.115,1.53,22.615), (-5.75,22.115,-5.25,22.615), (2.97,22.115,3.47,22.615), (2.97,22.115,12.03,22.615), (9.75,22.115,10.25,22.615), (13.27,22.115,13.77,22.615), (13.27,22.115,22.33,22.615), (-17.83,22.915,-8.77,23.415), (-9.27,22.915,-8.77,23.415), (-7.53,22.915,1.53,23.415), (-1.05,22.915,-0.55,23.415), (1.03,22.915,1.53,23.415), (2.97,22.915,12.03,23.415), (5.05,22.915,5.55,23.415), (11.53,22.915,12.03,23.415), (13.27,22.915,22.33,23.415), (21.83,22.915,22.33,23.415), (-15.54,23.935,20.04,27.565), (-14.59,24.055,19.09,24.555), (-15.12,25.095,-14.62,25.595), (-15.12,25.095,-14.62,25.595), (-6.56,25.095,-6.06,25.595), (-6.56,25.095,-6.06,25.595), (2,25.095,2.5,25.595), (2,25.095,2.5,25.595), (10.56,25.095,11.06,25.595), (10.56,25.095,11.06,25.595), (19.12,25.095,19.62,25.595), (19.12,25.095,19.62,25.595), (-15.12,26.145,19.62,26.645), (-15.12,26.945,19.62,27.445), (-6.56,26.945,-6.06,27.445), (10.56,26.945,11.06,27.445), (-15.54,27.565,20.04,27.855), (-19.02,27.855,-18.52,28.355), (-19.02,27.855,-18.52,28.355), (-19.02,27.855,-18.61,28.355), (-18.61,27.855,23.11,28.355), (-5.75,27.855,-5.25,28.355), (9.75,27.855,10.25,28.355), (23.02,27.855,23.52,28.355), (23.02,27.855,23.52,28.355), (23.11,27.855,23.52,28.355)])
R(spike_amp, via2, [(2.12,-12.495,2.38,-12.235), (2.12,-5.465,2.38,-5.205), (2.12,-4.665,2.38,-4.405), (-0.13,2.265,0.13,2.525), (4.37,2.265,4.63,2.525), (-0.93,3.065,-0.67,3.325), (5.17,3.065,5.43,3.325), (-3.88,8.005,-3.62,8.265), (8.12,8.955,8.38,9.215), (-3.88,13.525,-3.62,13.785), (8.12,15.205,8.38,15.465), (-0.93,20.145,-0.67,20.405), (3.87,20.145,4.13,20.405), (-5.63,22.235,-5.37,22.495), (9.87,22.235,10.13,22.495), (-0.93,23.035,-0.67,23.295), (5.17,23.035,5.43,23.295), (-5.63,27.975,-5.37,28.235), (9.87,27.975,10.13,28.235)])
R(spike_amp, via3, [(-0.93,3.065,-0.67,3.325), (5.17,3.065,5.43,3.325), (-0.93,20.145,-0.67,20.405), (-0.93,23.035,-0.67,23.295), (5.17,23.035,5.43,23.295)])
R(spike_amp, metal3, [(2,-12.615,2.5,-12.115), (2,-12.615,2.5,-5.085), (2,-5.585,2.5,-5.085), (2,-4.785,2.5,-4.285), (2,-4.785,2.5,2.645), (-0.25,2.145,0.25,2.645), (-0.25,2.145,4.75,2.645), (4.25,2.145,4.75,2.645), (-1.05,2.945,-0.55,3.445), (5.05,2.945,5.55,3.445), (-4,7.885,-3.5,8.385), (-4,7.885,-3.5,13.905), (8,8.835,8.5,15.585), (8,8.835,8.5,9.335), (-4,13.405,-3.5,13.905), (8,15.085,8.5,15.585), (-1.05,20.025,-0.55,20.525), (-1.05,20.025,-0.55,20.525), (-1.05,20.025,4.25,20.525), (3.75,20.025,4.25,20.525), (-5.75,22.115,-5.25,22.615), (-5.75,22.115,-5.25,28.355), (9.75,22.115,10.25,22.615), (9.75,22.115,10.25,28.355), (-1.05,22.915,-0.55,23.415), (5.05,22.915,5.55,23.415), (-5.75,27.855,-5.25,28.355), (9.75,27.855,10.25,28.355)])
R(spike_amp, metal4, [(-1.05,2.945,-0.55,3.445), (-1.05,2.945,-0.55,23.415), (5.05,2.945,5.55,3.445), (5.05,2.945,5.55,23.415), (-1.05,20.025,-0.55,20.525), (-1.05,22.915,-0.55,23.415), (5.05,22.915,5.55,23.415)])
R(spike_amp, lvpwell, [(-7.13,-12.705,11.63,8.475), (-6.1,-11.825,10.6,-8.195), (-6.25,-7.8,-2.35,3.57), (6.85,-7.8,10.75,3.57), (0.98,-7.795,3.52,-4.165), (-1.95,-3.565,1.95,3.565), (2.55,-3.565,6.45,3.565), (-6.1,3.965,10.6,7.595)])
spike_amp.add(gdstk.Label('VP', (0,-3.195), layer=36, texttype=10))
spike_amp.add(gdstk.Label('VN', (4.5,-3.195), layer=36, texttype=10))
spike_amp.add(gdstk.Label('VB', (2.25,-7.425), layer=36, texttype=10))
spike_amp.add(gdstk.Label('spike_out', (5.3,13.18), layer=46, texttype=10))
spike_amp.add(gdstk.Label('VSS', (2.25,-18.135), layer=36, texttype=10))
spike_amp.add(gdstk.Label('VDD', (2.25,28.355), layer=36, texttype=10))

lib.write_gds('spike_amp.gds')
